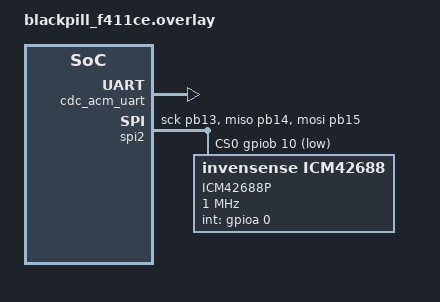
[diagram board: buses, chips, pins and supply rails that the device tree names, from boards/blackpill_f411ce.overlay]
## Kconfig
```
# ICM42688P demo configuration

mainmenu "Eurus Flight Controller - ICM42688P demo"


source "Kconfig.zephyr"
```

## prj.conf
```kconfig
# 
# This file is part of the efc project <https://github.com/eurus-project/efc/>.
# Copyright (c) 2024 The efc developers.
# 
# This program is free software: you can redistribute it and/or modify
# it under the terms of the GNU General Public License as published by
# the Free Software Foundation, version 3.
# 
# This program is distributed in the hope that it will be useful, but
# WITHOUT ANY WARRANTY; without even the implied warranty of
# MERCHANTABILITY or FITNESS FOR A PARTICULAR PURPOSE. See the GNU
# General Public License for more details.
# 
# You should have received a copy of the GNU General Public License
# along with this program. If not, see <http://www.gnu.org/licenses/>.
#

CONFIG_GPIO=y
CONFIG_SERIAL=y
CONFIG_CONSOLE=y
CONFIG_USB_DEVICE_STACK=y

CONFIG_DEBUG=y

CONFIG_STM32_FLASH_PREFETCH=y
CONFIG_FPU=y
CONFIG_SPI=y
CONFIG_SPI_STM32=y

CONFIG_MAIN_STACK_SIZE=4096

CONFIG_LOG=y
CONFIG_DEBUG_COREDUMP=y
CONFIG_DEBUG_COREDUMP_BACKEND_LOGGING=y

CONFIG_CBPRINTF_FP_SUPPORT=y

CONFIG_INPUT=y

CONFIG_SHELL=y
CONFIG_SHELL_LOG_BACKEND=y

CONFIG_SENSOR=y
```

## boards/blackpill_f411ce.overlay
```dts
/*
 * This file is part of the efc project <https://github.com/eurus-project/efc/>.
 * Copyright (c) 2024 The efc developers.
 *
 * This program is free software: you can redistribute it and/or modify
 * it under the terms of the GNU General Public License as published by
 * the Free Software Foundation, version 3.
 *
 * This program is distributed in the hope that it will be useful, but
 * WITHOUT ANY WARRANTY; without even the implied warranty of
 * MERCHANTABILITY or FITNESS FOR A PARTICULAR PURPOSE. See the GNU
 * General Public License for more details.
 *
 * You should have received a copy of the GNU General Public License
 * along with this program. If not, see <http://www.gnu.org/licenses/>.
 */

#include <zephyr/dt-bindings/sensor/icm42688.h>

/ {
	chosen {
		zephyr,console = &cdc_acm_uart;
		zephyr,shell-uart = &cdc_acm_uart;
	};
};

&zephyr_udc0 {
	cdc_acm_uart: cdc_acm_uart0 {
		compatible = "zephyr,cdc-acm-uart";
	};
};

&spi2 {
    status = "okay";
    pinctrl-0 = <&spi2_sck_pb13 &spi2_miso_pb14 &spi2_mosi_pb15>;
    pinctrl-names = "default";
    cs-gpios = <&gpiob 10 (GPIO_ACTIVE_LOW | GPIO_PULL_UP)>;

    imu_icm42688p: icm42688@1 {
        compatible = "invensense,icm42688";
        reg = <0>;
        status = "okay";
        label = "ICM42688P";
        spi-max-frequency = <1000000>;
        int-gpios = <&gpioa 0 GPIO_ACTIVE_HIGH>;
        accel-pwr-mode = <ICM42688_DT_ACCEL_LN>;
        accel-fs = <ICM42688_DT_ACCEL_FS_16>;
        accel-odr = <ICM42688_DT_ACCEL_ODR_50>;
        gyro-pwr-mode= <ICM42688_DT_GYRO_LN>;
        gyro-fs = <ICM42688_DT_GYRO_FS_2000>;
        gyro-odr = <ICM42688_DT_GYRO_ODR_50>;
	};
};
```

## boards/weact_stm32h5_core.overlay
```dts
/*
 * This file is part of the efc project <https://github.com/eurus-project/efc/>.
 * Copyright (c) 2024 The efc developers.
 *
 * This program is free software: you can redistribute it and/or modify
 * it under the terms of the GNU General Public License as published by
 * the Free Software Foundation, version 3.
 *
 * This program is distributed in the hope that it will be useful, but
 * WITHOUT ANY WARRANTY; without even the implied warranty of
 * MERCHANTABILITY or FITNESS FOR A PARTICULAR PURPOSE. See the GNU
 * General Public License for more details.
 *
 * You should have received a copy of the GNU General Public License
 * along with this program. If not, see <http://www.gnu.org/licenses/>.
 */

#include <zephyr/dt-bindings/sensor/icm42688.h>

/ {
	chosen {
		zephyr,console = &cdc_acm_uart;
        zephyr,shell-uart = &cdc_acm_uart;
	};
};

&pll {
	div-q = <6>;
};

&zephyr_udc0 {
	cdc_acm_uart: cdc_acm_uart0 {
		compatible = "zephyr,cdc-acm-uart";
	};
};

&spi2 {
    status = "okay";
    pinctrl-0 = <&spi2_sck_pb10 &spi2_miso_pc2 &spi2_mosi_pc1>;
    pinctrl-names = "default";
    cs-gpios = <&gpioa 1 (GPIO_ACTIVE_LOW | GPIO_PULL_UP)>;

    imu_icm42688p: icm42688@1 {
        compatible = "invensense,icm42688";
        reg = <0>;
        status = "okay";
        label = "ICM42688P";
        spi-max-frequency = <1000000>;
        int-gpios = <&gpioc 0 GPIO_ACTIVE_HIGH>;
        accel-pwr-mode = <ICM42688_DT_ACCEL_LN>;
        accel-fs = <ICM42688_DT_ACCEL_FS_16>;
        accel-odr = <ICM42688_DT_ACCEL_ODR_50>;
        gyro-pwr-mode= <ICM42688_DT_GYRO_LN>;
        gyro-fs = <ICM42688_DT_GYRO_FS_2000>;
        gyro-odr = <ICM42688_DT_GYRO_ODR_50>;
	};
};

&clk_hsi48 {
    status = "okay";
};
```

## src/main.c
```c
/*
 * This file is part of the efc project <https://github.com/eurus-project/efc/>.
 * Copyright (c) 2024 - 2025 The efc developers.
 *
 * This program is free software: you can redistribute it and/or modify
 * it under the terms of the GNU General Public License as published by
 * the Free Software Foundation, version 3.
 *
 * This program is distributed in the hope that it will be useful, but
 * WITHOUT ANY WARRANTY; without even the implied warranty of
 * MERCHANTABILITY or FITNESS FOR A PARTICULAR PURPOSE. See the GNU
 * General Public License for more details.
 *
 * You should have received a copy of the GNU General Public License
 * along with this program. If not, see <http://www.gnu.org/licenses/>.
 */

#include <math.h>
#include <stdio.h>
#include <zephyr/device.h>
#include <zephyr/drivers/gpio.h>
#include <zephyr/drivers/sensor.h>
#include <zephyr/kernel.h>
#include <zephyr/logging/log.h>
#include <zephyr/usb/usb_device.h>
#include <zephyr/usb/usbd.h>

#include "types.h"

LOG_MODULE_REGISTER(main, LOG_LEVEL_INF);

// This LED simply blinks at an interval, indicating visually that the firmware
// is running If anything causes the whole firmware to abort, it will be
// apparent without looking at log output or hooking up a debugger.
static const struct gpio_dt_spec fw_running_led =
    GPIO_DT_SPEC_GET(DT_ALIAS(led0), gpios);

const struct device *const main_imu =
    DEVICE_DT_GET(DT_NODELABEL(imu_icm42688p));

#if defined(CONFIG_USB_DEVICE_STACK_NEXT)
static struct usbd_context *sample_usbd;

static int enable_usb_device_next(void) {
    int err;

    sample_usbd = sample_usbd_init_device(NULL);
    if (sample_usbd == NULL) {
        return -ENODEV;
    }

    err = usbd_enable(sample_usbd);
    if (err) {
        return err;
    }

    return 0;
}
#endif /* defined(CONFIG_USB_DEVICE_STACK_NEXT) */

static int process_imu(const struct device *dev) {
    int ret = sensor_sample_fetch(dev);
    if (ret < 0) {
        LOG_ERR("Could not fetch data from IMU!");
        return ret;
    }

    const int64_t timestamp_ms = k_uptime_get();

    struct sensor_value accel[3];
    ret = sensor_channel_get(dev, SENSOR_CHAN_ACCEL_XYZ, accel);
    if (ret < 0) {
        LOG_ERR("Could not get accelerometer data!");
        return ret;
    }

    struct sensor_value gyro[3];
    ret = sensor_channel_get(dev, SENSOR_CHAN_GYRO_XYZ, gyro);
    if (ret < 0) {
        LOG_ERR("Could not get gyroscope data!");
        return ret;
    }

    struct sensor_value temperature;
    ret = sensor_channel_get(dev, SENSOR_CHAN_DIE_TEMP, &temperature);
    if (ret < 0) {
        LOG_WRN("Could not get IMU die temperature data!");
    }

    const struct imu_6dof_data msg = {
        .timestamp_us = timestamp_ms * 1000,
        .accel_mps2[0] = sensor_value_to_float(&accel[0]),
        .accel_mps2[1] = sensor_value_to_float(&accel[1]),
        .accel_mps2[2] = sensor_value_to_float(&accel[2]),
        .gyro_radps[0] = sensor_value_to_float(&gyro[0]),
        .gyro_radps[1] = sensor_value_to_float(&gyro[1]),
        .gyro_radps[2] = sensor_value_to_float(&gyro[2]),
        .temperature_degc = sensor_value_to_float(&temperature),
    };

    printk("IMU Data at %u us:\n", msg.timestamp_us);

    printk("  Acceleration [m/s^2]: X=%.3f, Y=%.3f, Z=%.3f\n",
           msg.accel_mps2[0], msg.accel_mps2[1], msg.accel_mps2[2]);

    printk("  Gyroscope [rad/s]:    X=%.3f, Y=%.3f, Z=%.3f\n",
           msg.gyro_radps[0], msg.gyro_radps[1], msg.gyro_radps[2]);

    printk("  Temperature [°C]:     %.2f\n", msg.temperature_degc);

    return 0;
}

int main(void) {
    if (DT_NODE_HAS_COMPAT(DT_CHOSEN(zephyr_console), zephyr_cdc_acm_uart)) {
#if defined(CONFIG_USB_DEVICE_STACK_NEXT)
        if (enable_usb_device_next()) {
            return 0;
        }
#else
        if (usb_enable(NULL)) {
            return 0;
        }
#endif
    }

    if (!gpio_is_ready_dt(&fw_running_led)) {
        LOG_ERR("The firmware running LED is not ready");
        return 0;
    }

    int ret;
    ret = gpio_pin_configure_dt(&fw_running_led, GPIO_OUTPUT_ACTIVE);
    if (ret < 0) {
        LOG_ERR("Could not configure the firmware running LED as output");
        return 0;
    }

    if (!device_is_ready(main_imu)) {
        LOG_ERR("Device %s is not ready\n", main_imu->name);
        return 0;
    }

    while (1) {
        ret = gpio_pin_toggle_dt(&fw_running_led);
        if (ret < 0) {
            LOG_ERR("Could not toggle the firmware running LED");
            return 0;
        }

        process_imu(main_imu);

        k_msleep(1000);
    }

    return 0;
}
```
